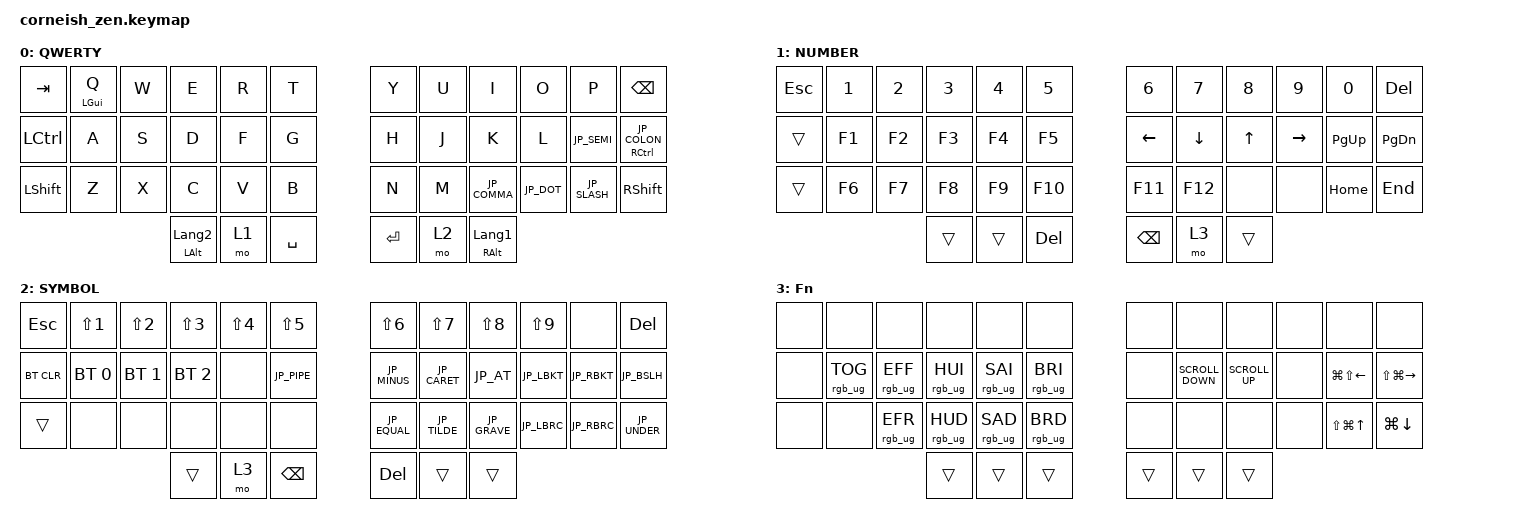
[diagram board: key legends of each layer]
/*
 * Copyright (c) 2020 The ZMK Contributors
 *
 * SPDX-License-Identifier: MIT
 */

#include "keycode_japanese.h"
#include <behaviors.dtsi>
#include <dt-bindings/zmk/bt.h>
#include <dt-bindings/zmk/keys.h>
#include <dt-bindings/zmk/rgb.h>

/ {
    chosen {
        zmk,matrix_transform = &default_transform;

        // zmk,matrix_transform = &five_column_transform;
    };
};

/ {
    behaviors {
        td0: td0 {
            compatible = "zmk,behavior-tap-dance";
            label = "TD0";
            #binding-cells = <0>;
            bindings = <&kp LEFT_SHIFT>, <&kp CAPS>;
        };
    };

    keymap {
        compatible = "zmk,keymap";

        default_layer {
            display-name = "QWERTY";

            // --------------------------------------------------------------------------------
            // |  TAB |  Q  |  W  |  E  |  R  |  T  |   |  Y  |  U   |  I  |  O  |  P  | BKSP |
            // | CTRL |  A  |  S  |  D  |  F  |  G  |   |  H  |  J   |  K  |  L  |  ;  |  '   | 
            // | SHFT |  Z  |  X  |  C  |  V  |  B  |   |  N  |  M   |  ,  |  .  |  /  | ESC  |
            //                    | GUI | LWR | SPC |   | ENT | RSE  | ALT |

            bindings = <
&kp TAB         &mt LEFT_GUI Q  &kp W  &kp E                    &kp R  &kp T        &kp Y      &kp U  &kp I                     &kp O       &kp P         &kp BSPC
&kp LCTRL       &kp A           &kp S  &kp D                    &kp F  &kp G        &kp H      &kp J  &kp K                     &kp L       &kp JP_SEMI   &mt RCTRL JP_COLON
&kp LEFT_SHIFT  &kp Z           &kp X  &kp C                    &kp V  &kp B        &kp N      &kp M  &kp JP_COMMA              &kp JP_DOT  &kp JP_SLASH  &kp RIGHT_SHIFT
                                       &mt LEFT_ALT LANGUAGE_2  &mo 1  &kp SPACE    &kp ENTER  &mo 2  &mt RIGHT_ALT LANGUAGE_1
            >;
        };

        lower_layer {
            display-name = "NUMBER";

            // -----------------------------------------------------------------------------------------
            // |  TAB |  1  |  2  |  3  |  4  |  5  |   |  6  |  7  |  8  |  9  |  0  | BKSP |
            // | BTCLR| BT1 | BT2 | BT3 | BT4 | BT5 |   | LFT | DWN |  UP | RGT |     |      |
            // | SHFT |     |     |     |     |     |   |     |     |     |     |     |      |
            //                    | GUI |     | SPC |   | ENT |     | ALT |

            bindings = <
&kp ESCAPE  &kp N1  &kp N2  &kp N3  &kp N4  &kp N5        &kp N6    &kp N7    &kp N8  &kp N9     &kp N0       &kp DEL
&trans      &kp F1  &kp F2  &kp F3  &kp F4  &kp F5        &kp LEFT  &kp DOWN  &kp UP  &kp RIGHT  &kp PAGE_UP  &kp PAGE_DOWN
&trans      &kp F6  &kp F7  &kp F8  &kp F9  &kp F10       &kp F11   &kp F12   &none   &none      &kp HOME     &kp END
                            &trans  &trans  &kp DELETE    &kp BSPC  &mo 3     &trans
            >;
        };

        raise_layer {
            display-name = "SYMBOL";

            // -----------------------------------------------------------------------------------------
            // |  TAB |  !  |  @  |  #  |  $  |  %  |   |  ^  |  &  |  *  |  (  |  )  | BKSP |
            // | CTRL |     |     |     |     |     |   |  -  |  =  |  [  |  ]  |  \  |  `   |
            // | SHFT |     |     |     |     |     |   |  _  |  +  |  {  |  }  | "|" |  ~   |
            //                    | GUI |     | SPC |   | ENT |     | ALT |

            bindings = <
&kp ESCAPE  &kp LS(NUMBER_1)  &kp LS(NUMBER_2)  &kp LS(NUMBER_3)  &kp LS(NUMBER_4)  &kp LS(NUMBER_5)    &kp LS(NUMBER_6)  &kp LS(NUMBER_7)  &kp LS(NUMBER_8)  &kp LS(NUMBER_9)  &none        &kp DELETE
&bt BT_CLR  &bt BT_SEL 0      &bt BT_SEL 1      &bt BT_SEL 2      &none             &kp JP_PIPE         &kp JP_MINUS      &kp JP_CARET      &kp JP_AT         &kp JP_LBKT       &kp JP_RBKT  &kp JP_BSLH
&trans      &none             &none             &none             &none             &none               &kp JP_EQUAL      &kp JP_TILDE      &kp JP_GRAVE      &kp JP_LBRC       &kp JP_RBRC  &kp JP_UNDER
                                                &trans            &mo 3             &kp BSPC            &kp DEL           &trans            &trans
            >;
        };

        layer_3 {
            display-name = "Fn";
            bindings = <
&none  &none            &none            &none            &none            &none              &none   &none              &none            &none  &none                 &none
&none  &rgb_ug RGB_TOG  &rgb_ug RGB_EFF  &rgb_ug RGB_HUI  &rgb_ug RGB_SAI  &rgb_ug RGB_BRI    &none   &kp K_SCROLL_DOWN  &kp K_SCROLL_UP  &none  &kp LG(LS(LEFT))      &kp LS(LG(RIGHT))
&none  &none            &rgb_ug RGB_EFR  &rgb_ug RGB_HUD  &rgb_ug RGB_SAD  &rgb_ug RGB_BRD    &none   &none              &none            &none  &kp LS(LG(UP_ARROW))  &kp LG(DOWN)
                                         &trans           &trans           &trans             &trans  &trans             &trans
            >;
        };
    };
};
